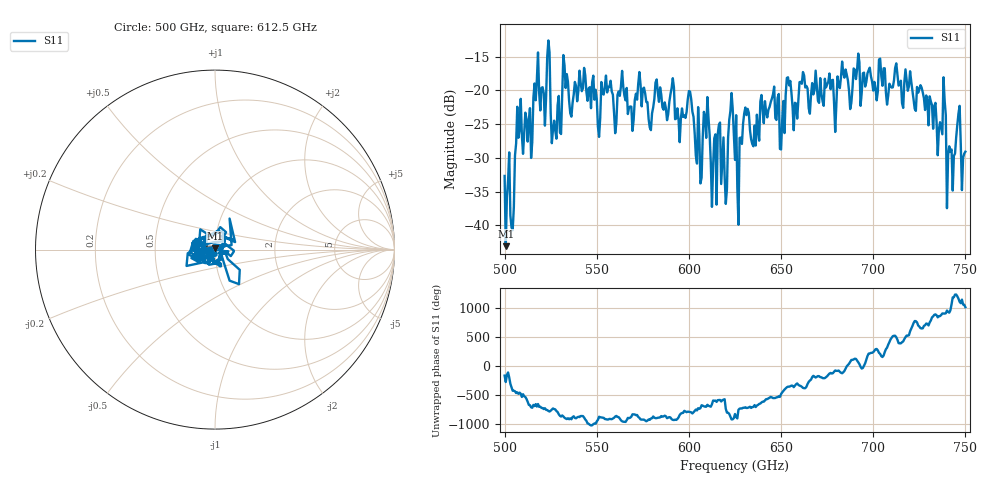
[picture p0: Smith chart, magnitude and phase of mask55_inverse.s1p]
!Created with skrf (http://scikit-rf.org).
# GHz S MA R 50.0
!freq magS11 angS11
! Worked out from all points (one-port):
!   401 points, 500 GHz to 750 GHz, reference 50 ohm
!   lowest |S11| = -43.1 dB at 500.6 GHz (marker M1), VSWR 1.01, Z = 50.1 + j0.698 ohm
!   |S11| at or under -10 dB: start of sweep to end of sweep
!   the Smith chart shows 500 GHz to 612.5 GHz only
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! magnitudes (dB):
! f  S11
! 500 GHz  -32.7
! 500.6 GHz  -43.1
! 504.4 GHz  -40.7
! 507.5 GHz  -27.0
! 513.8 GHz  -22.6
! 516.9 GHz  -21.5
! 523.8 GHz  -12.6
! 526.9 GHz  -24.5
! 531.2 GHz  -20.3
! 562.5 GHz  -20.8
! 579.4 GHz  -25.9
! 590.6 GHz  -19.6
! 593.8 GHz  -22.7
! 600.6 GHz  -20.2
! 605.6 GHz  -26.5
! 609.4 GHz  -27.0
! 613.8 GHz  -27.1
! 620.6 GHz  -34.6
! 622.5 GHz  -23.1
! 625 GHz  -30.3
! 627.5 GHz  -27.0
! 656.2 GHz  -22.5
! 687.5 GHz  -22.8
! 718.8 GHz  -20.1
! 738.1 GHz  -18.1
! 741.2 GHz  -28.3
! 746.2 GHz  -23.4
! 750 GHz  -29.1
